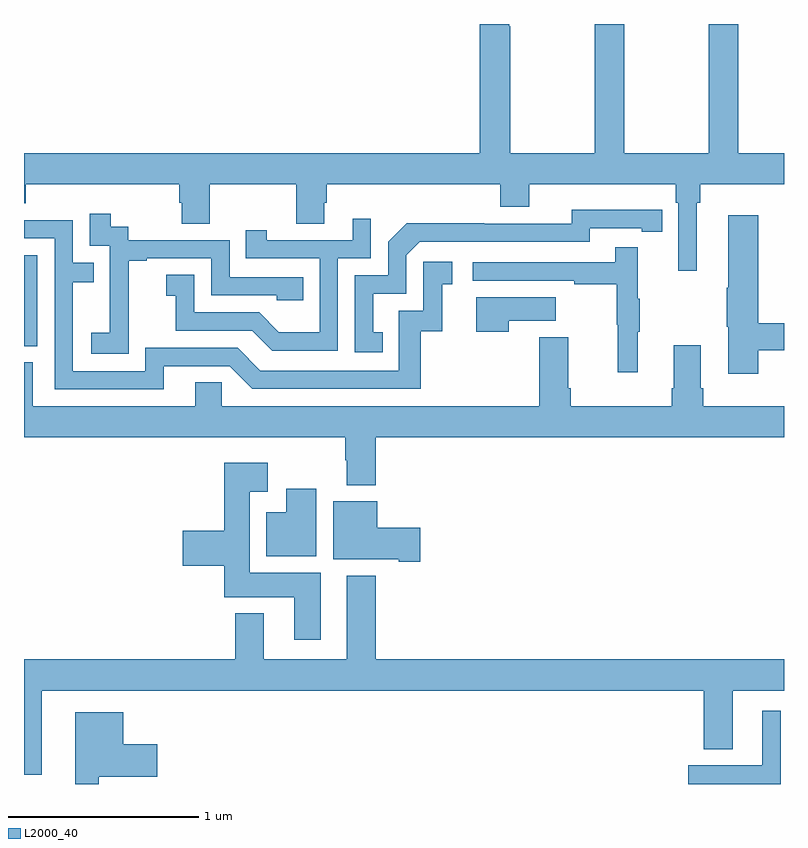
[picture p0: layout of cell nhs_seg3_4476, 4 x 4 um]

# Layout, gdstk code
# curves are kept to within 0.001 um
import gdstk
lib = gdstk.Library(unit=1e-6, precision=1e-09)
def R(c, l, rs):  # rectangles x0, y0, x1, y1
    for r in rs: c.add(gdstk.rectangle(r[:2], r[2:], *l))
def P(c, l, *ps):  # polygons
    for p in ps: c.add(gdstk.Polygon(p, *l))
L2000_40 = (2000, 40)

nhs_seg3_4476 = lib.new_cell('nhs_seg3_4476')
R(nhs_seg3_4476, L2000_40, [(349,726.705,349.071,727.182)])
P(nhs_seg3_4476, L2000_40, [(352.54,727.46),(352.559,727.46),(352.559,727.556),(353,727.556),(353,727.72),(352.758,727.72),(352.758,728.4),(352.603,728.4),(352.603,727.72),(352.158,727.72),(352.158,728.4),(352.003,728.4),(352.003,727.72),(351.558,727.72),(351.558,728.387),(351.553,728.387),(351.553,728.4),(351.398,728.4),(351.398,727.72),(349,727.72),(349,727.457),(349.01,727.457),(349.01,727.556),(349.817,727.556),(349.817,727.458),(349.829,727.458),(349.829,727.348),(349.977,727.348),(349.977,727.556),(350.434,727.556),(350.434,727.348),(350.581,727.348),(350.581,727.458),(350.594,727.458),(350.594,727.556),(351.506,727.556),(351.506,727.439),(351.658,727.439),(351.658,727.556),(352.43,727.556),(352.43,727.46),(352.443,727.46),(352.443,727.101),(352.54,727.101)],
  [(350.888,726.777),(350.839,726.777),(350.839,726.981),(351.012,726.981),(351.012,727.182),(351.084,727.254),(351.978,727.254),(351.978,727.326),(352.25,727.326),(352.25,727.306),(352.358,727.306),(352.358,727.422),(351.882,727.423),(351.882,727.35),(351.422,727.35),(351.422,727.352),(351.014,727.352),(350.916,727.254),(350.916,727.077),(350.742,727.077),(350.742,726.672),(350.888,726.672)],
  [(349.551,726.871),(349.55,726.871),(349.55,727.155),(349.645,727.155),(349.645,727.167),(349.986,727.167),(349.986,726.972),(350.331,726.972),(350.331,726.945),(350.471,726.945),(350.471,727.068),(350.082,727.068),(350.082,727.263),(349.548,727.263),(349.548,727.332),(349.456,727.332),(349.456,727.402),(349.347,727.402),(349.347,727.233),(349.452,727.233),(349.452,727.004),(349.451,727.004),(349.451,726.775),(349.353,726.775),(349.353,726.665),(349.551,726.665)],
  [(352.865,726.682),(353,726.682),(353,726.824),(352.865,726.824),(352.865,727.393),(352.706,727.393),(352.706,727.013),(352.699,727.013),(352.699,726.807),(352.706,726.807),(352.706,726.558),(352.865,726.558)],
  [(350.652,727.167),(350.826,727.167),(350.826,727.375),(350.729,727.375),(350.729,727.263),(350.278,727.263),(350.278,727.315),(350.167,727.315),(350.167,727.167),(350.556,727.167),(350.556,726.778),(350.342,726.778),(350.238,726.882),(349.896,726.882),(349.896,727.081),(349.749,727.081),(349.749,726.971),(349.798,726.971),(349.798,726.786),(350.201,726.786),(350.306,726.681),(350.652,726.681)],
  [(349.735,726.6),(350.082,726.6),(350.202,726.48),(351.089,726.48),(351.089,726.783),(351.2,726.783),(351.2,727.029),(351.253,727.029),(351.253,727.15),(351.102,727.15),(351.102,726.891),(350.973,726.891),(350.973,726.576),(350.244,726.576),(350.124,726.696),(349.638,726.696),(349.638,726.573),(349.257,726.573),(349.257,727.042),(349.367,727.042),(349.367,727.143),(349.257,727.143),(349.257,727.368),(349,727.368),(349,727.272),(349.161,727.272),(349.161,726.477),(349.735,726.477)],
  [(352.229,726.779),(352.24,726.779),(352.24,726.953),(352.229,726.953),(352.229,727.225),(352.111,727.225),(352.111,727.146),(351.363,727.146),(351.363,727.05),(351.895,727.05),(351.895,727.03),(352.119,727.03),(352.119,726.816),(352.126,726.816),(352.126,726.567),(352.229,726.567)],
  [(351.551,726.839),(351.799,726.839),(351.799,726.961),(351.38,726.961),(351.38,726.78),(351.551,726.78)],
  [(350.852,726.224),(353,726.224),(353,726.388),(352.574,726.388),(352.574,726.484),(352.561,726.484),(352.561,726.709),(352.421,726.709),(352.421,726.484),(352.409,726.484),(352.409,726.388),(351.878,726.388),(351.878,726.484),(351.865,726.484),(351.865,726.751),(351.713,726.751),(351.713,726.388),(350.04,726.388),(350.04,726.515),(349.901,726.515),(349.901,726.388),(349.045,726.388),(349.045,726.62),(349,726.62),(349,726.224),(350.692,726.224),(350.692,726.104),(350.699,726.104),(350.699,725.972),(350.852,725.972)],
  [(350.563,725.512),(350.188,725.512),(350.188,725.939),(350.284,725.939),(350.284,726.091),(350.054,726.091),(350.054,725.732),(349.836,725.732),(349.836,725.549),(350.054,725.549),(350.054,725.384),(350.423,725.384),(350.423,725.16),(350.563,725.16)],
  [(350.539,725.953),(350.381,725.953),(350.381,725.83),(350.276,725.83),(350.276,725.6),(350.539,725.6)],
  [(351.085,725.748),(350.86,725.748),(350.86,725.887),(350.627,725.887),(350.627,725.582),(350.972,725.582),(350.972,725.57),(351.085,725.57)],
  [(349.093,724.892),(352.577,724.892),(352.577,724.583),(352.729,724.583),(352.729,724.892),(353,724.892),(353,725.056),(350.852,725.056),(350.852,725.497),(350.699,725.497),(350.699,725.056),(350.263,725.056),(350.263,725.299),(350.111,725.299),(350.111,725.056),(349,725.056),(349,724.448),(349.093,724.448)],
  [(352.984,724.786),(352.886,724.786),(352.886,724.498),(352.496,724.498),(352.496,724.4),(352.984,724.4)],
  [(349.393,724.439),(349.702,724.439),(349.702,724.609),(349.522,724.609),(349.522,724.777),(349.271,724.777),(349.271,724.4),(349.393,724.4)])

lib.write_gds('nhs_seg3_4476.gds')
